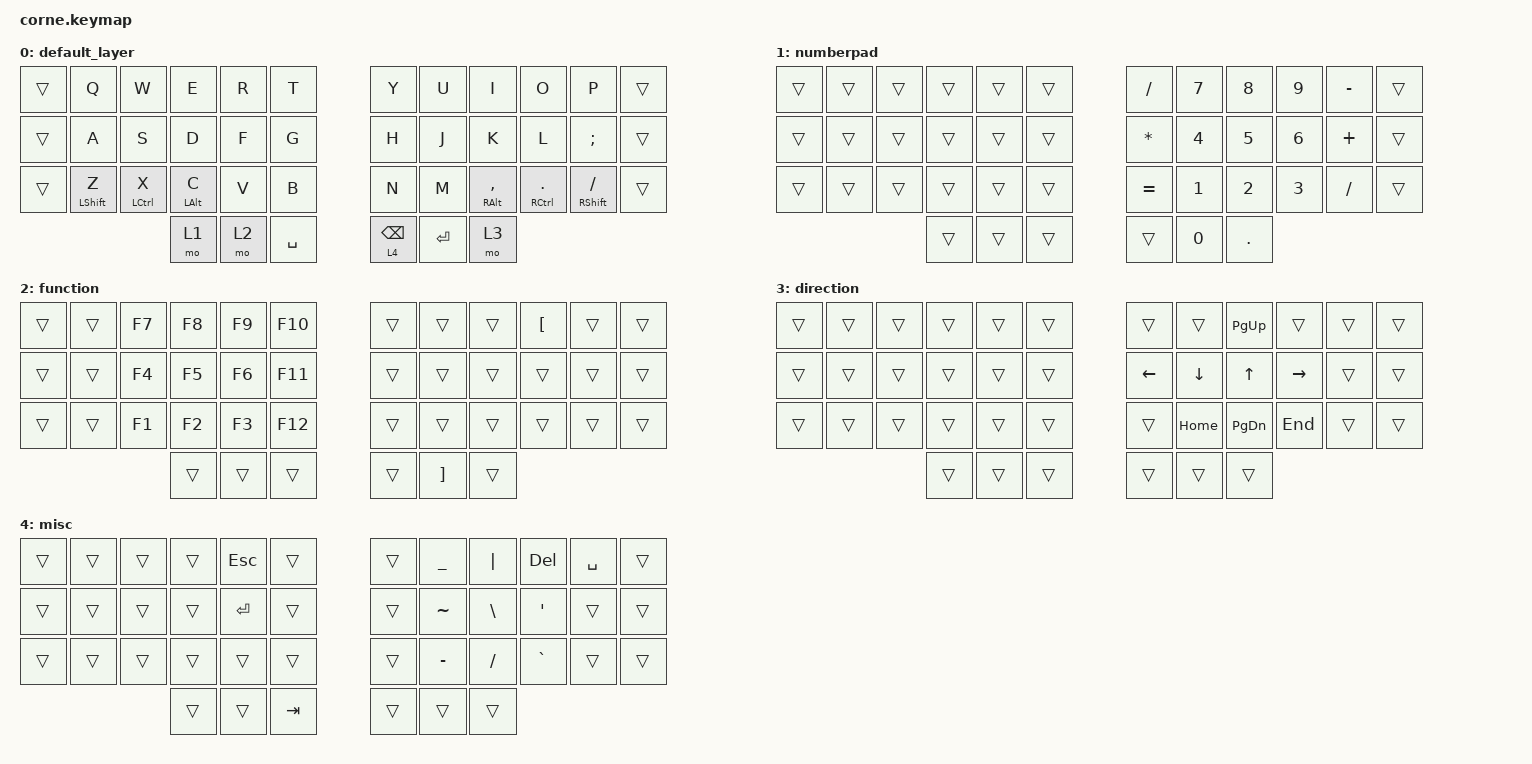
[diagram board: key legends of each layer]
/*
 * Copyright (c) 2020 The ZMK Contributors
 *
 * SPDX-License-Identifier: MIT
 */

#include <behaviors.dtsi>
#include <dt-bindings/zmk/keys.h>

/ {
    keymap {
        compatible = "zmk,keymap";

        default_layer {
            // -----------------------------------------------------------------------------------------
            // |  TAB |  Q  |  W  |  E  |  R  |  T  |   |  Y  |  U   |  I  |  O  |  P  | BSPC |
            // | CTRL |  A  |  S  |  D  |  F  |  G  |   |  H  |  J   |  K  |  L  |  ;  |  '   |
            // | SHFT |  Z  |  X  |  C  |  V  |  B  |   |  N  |  M   |  ,  |  .  |  /  | ESC  |
            //                    | GUI | LWR | SPC |   | ENT | RSE  | ALT |

            bindings = <
&trans  &kp Q             &kp W               &kp E           &kp R  &kp T        &kp Y            &kp U       &kp I                &kp O                     &kp P                  &trans
&trans  &kp A             &kp S               &kp D           &kp F  &kp G        &kp H            &kp J       &kp K                &kp L                     &kp SEMI               &trans
&trans  &mt LEFT_SHIFT Z  &mt LEFT_CONTROL X  &mt LEFT_ALT C  &kp V  &kp B        &kp N            &kp M       &mt RIGHT_ALT COMMA  &mt RIGHT_CONTROL PERIOD  &mt RIGHT_SHIFT SLASH  &trans
                                              &mo 1           &mo 2  &kp SPACE    &lt 4 BACKSPACE  &kp RETURN  &mo 3
            >;
        };

        numberpad {
            bindings = <
&trans  &trans  &trans  &trans  &trans  &trans    &kp FSLH   &kp N7  &kp N8   &kp N9  &kp MINUS  &trans
&trans  &trans  &trans  &trans  &trans  &trans    &kp ASTRK  &kp N4  &kp N5   &kp N6  &kp PLUS   &trans
&trans  &trans  &trans  &trans  &trans  &trans    &kp EQUAL  &kp N1  &kp N2   &kp N3  &kp FSLH   &trans
                        &trans  &trans  &trans    &trans     &kp N0  &kp DOT
            >;
        };

        function {
            bindings = <
&trans  &trans  &kp F7  &kp F8  &kp F9  &kp F10    &trans  &trans    &trans  &kp LBKT  &trans  &trans
&trans  &trans  &kp F4  &kp F5  &kp F6  &kp F11    &trans  &trans    &trans  &trans    &trans  &trans
&trans  &trans  &kp F1  &kp F2  &kp F3  &kp F12    &trans  &trans    &trans  &trans    &trans  &trans
                        &trans  &trans  &trans     &trans  &kp RBKT  &trans
            >;
        };

        direction {
            bindings = <
&trans  &trans  &trans  &trans  &trans  &trans    &trans    &trans    &kp PAGE_UP    &trans     &trans  &trans
&trans  &trans  &trans  &trans  &trans  &trans    &kp LEFT  &kp DOWN  &kp UP         &kp RIGHT  &trans  &trans
&trans  &trans  &trans  &trans  &trans  &trans    &trans    &kp HOME  &kp PAGE_DOWN  &kp END    &trans  &trans
                        &trans  &trans  &trans    &trans    &trans    &trans
            >;
        };

        misc {
            bindings = <
&trans  &trans  &trans  &trans  &kp ESC  &trans     &trans  &kp UNDERSCORE  &kp PIPE  &kp DEL    &kp SPACE  &trans
&trans  &trans  &trans  &trans  &kp RET  &trans     &trans  &kp TILDE       &kp BSLH  &kp SQT    &trans     &trans
&trans  &trans  &trans  &trans  &trans   &trans     &trans  &kp MINUS       &kp FSLH  &kp GRAVE  &trans     &trans
                        &trans  &trans   &kp TAB    &trans  &trans          &trans
            >;
        };
    };
};
